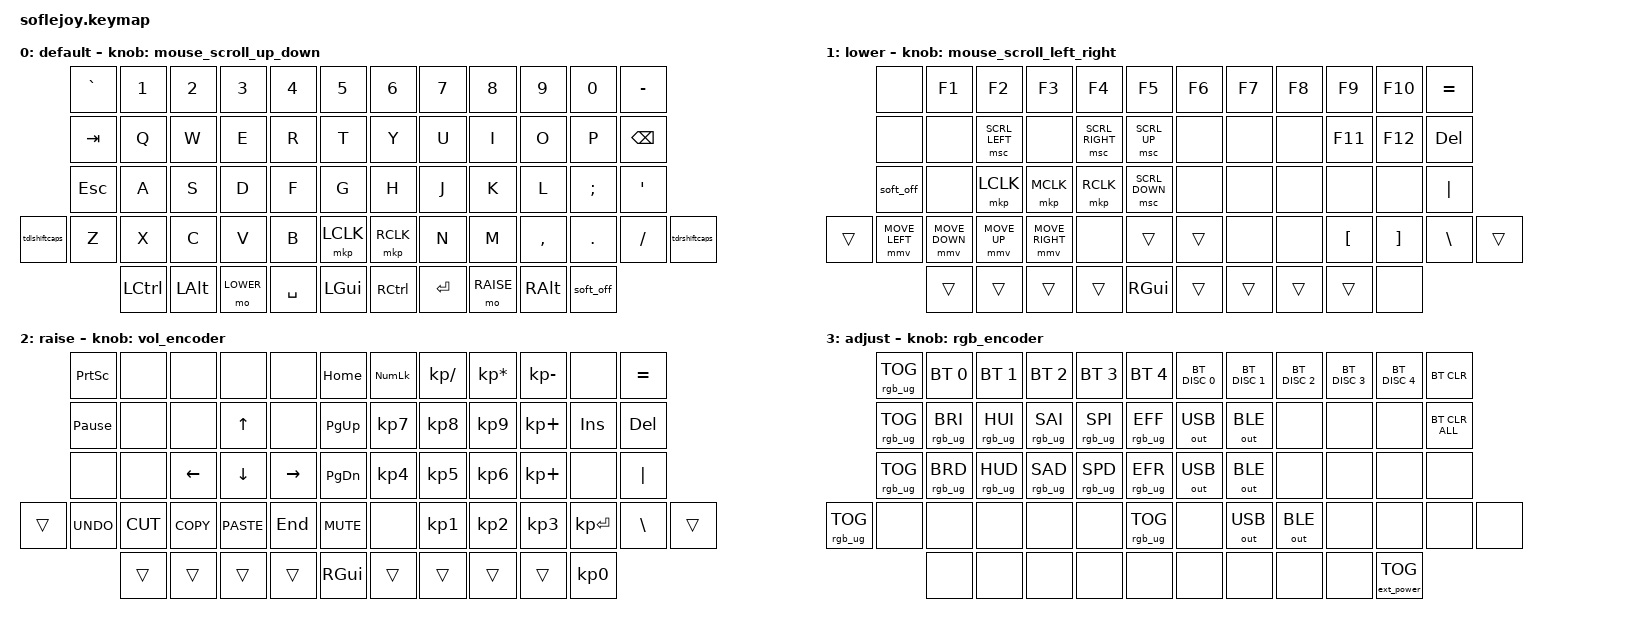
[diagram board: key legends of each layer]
/*
 * Copyright (c) 2020 The ZMK Contributors
 *
 * SPDX-License-Identifier: MIT
 */

#include <behaviors.dtsi>
#include <dt-bindings/zmk/keys.h>
#include <dt-bindings/zmk/bt.h>
#include <dt-bindings/zmk/rgb.h>
#include <dt-bindings/zmk/ext_power.h>
#include <dt-bindings/zmk/outputs.h>

#define ZMK_POINTING_DEFAULT_MOVE_VAL 300 // default 600, does not apply to pointing devices?
#define ZMK_POINTING_DEFAULT_SCRL_VAL 100 // the default is 10 which is way too slow for a fast response time

#include <dt-bindings/zmk/pointing.h>
#include <input/processors.dtsi>

#define BASE 0
#define LOWER 1
#define RAISE 2
#define ADJUST 3


&sl {
    release-after-ms = <500>;
    /delete-property/ quick-release;
};


&soft_off {
    hold-time-ms = <1500>; // Only turn off it the key is held for these milliseconds or longer.
    /delete-property/ split-peripheral-off-on-press;
};


&joystick_listener {
    input-processors = <&zip_temp_layer LOWER 1000>;
};

/ {

    behaviors {
        vol_encoder: behavior_vol_encoder {
            compatible = "zmk,behavior-sensor-rotate";
            #sensor-binding-cells = <0>;
            bindings = <&kp C_VOL_UP>, <&kp C_VOL_DN>;
        };

        rgb_encoder: behavior_rgb_encoder {
            compatible = "zmk,behavior-sensor-rotate";
            #sensor-binding-cells = <0>;
            bindings = <&rgb_ug RGB_BRI>, <&rgb_ug RGB_BRD>;
        };

        mouse_up_down: behavior_mouse_up_down {
            compatible = "zmk,behavior-sensor-rotate";
            #sensor-binding-cells = <0>;
            bindings = <&mmv MOVE_UP>, <&mmv MOVE_DOWN>;
            tap-ms = < 25 >;
        };

        mouse_left_right: behavior_mouse_left_right {
            compatible = "zmk,behavior-sensor-rotate";
            #sensor-binding-cells = <0>;
            bindings = <&mmv MOVE_RIGHT>, <&mmv MOVE_LEFT>;
            tap-ms = < 25 >;
        };

        mouse_scroll_up_down: behavior_mouse_scroll_up_down {
            compatible = "zmk,behavior-sensor-rotate";
            #sensor-binding-cells = <0>;
            bindings = <&msc SCRL_UP>, <&msc SCRL_DOWN>;
            tap-ms = < 20 >;
        };

        mouse_scroll_left_right: behavior_mouse_scroll_left_right {
            compatible = "zmk,behavior-sensor-rotate";
            #sensor-binding-cells = <0>;
            bindings = <&msc SCRL_RIGHT>, <&msc SCRL_LEFT>;
            tap-ms = < 20 >;
        };

        tdrshiftcaps: tap_dance_caps_r {
            compatible = "zmk,behavior-tap-dance";
            #binding-cells = <0>;
            tapping-term-ms = <200>;
            bindings = <&kp RSHIFT>, <&kp RSHIFT>, <&kp CAPSLOCK>;
        };


        tdlshiftcaps: tap_dance_caps_l {
            compatible = "zmk,behavior-tap-dance";
            #binding-cells = <0>;
            tapping-term-ms = <200>;
            bindings = <&kp LSHIFT>, <&kp LSHIFT>, <&kp CAPSLOCK>;
        };
    };

   // Activate ADJUST layer by pressing raise and lower
    conditional_layers {
        compatible = "zmk,conditional-layers";
        adjust_layer {
            if-layers = <LOWER RAISE>;
            then-layer = <ADJUST>;
        };
    };

    keymap {

        compatible = "zmk,keymap";

        default_layer {
            display-name = "default";

            bindings = <
&kp GRAVE &kp N1 &kp N2 &kp N3 &kp N4 &kp N5 &kp N6 &kp N7 &kp N8 &kp N9 &kp N0 &kp MINUS 
&kp TAB &kp Q &kp W &kp E &kp R &kp T &kp Y &kp U &kp I &kp O &kp P &kp BSPC 
&kp ESC &kp A &kp S &kp D &kp F &kp G &kp H &kp J &kp K &kp L &kp SEMI &kp SQT 
&tdlshiftcaps &kp Z &kp X &kp C &kp V &kp B &mkp LCLK &mkp RCLK &kp N &kp M &kp COMMA &kp DOT &kp FSLH &tdrshiftcaps 
&kp LCTRL &kp LALT &mo LOWER &kp SPACE &kp LGUI &kp RCTRL &kp RET &mo RAISE &kp RALT &soft_off 

            >;

            sensor-bindings = <&mouse_scroll_up_down>;
        };

        lower_layer {
            display-name = "lower";

            bindings = <
&none &kp F1 &kp F2 &kp F3 &kp F4 &kp F5 &kp F6 &kp F7 &kp F8 &kp F9 &kp F10 &kp EQUAL 
&none &none &msc SCRL_LEFT &none &msc SCRL_RIGHT &msc SCRL_UP &none &none &none &kp F11 &kp F12 &kp DEL 
&soft_off &none &mkp LCLK &mkp MCLK &mkp RCLK &msc SCRL_DOWN &none &none &none &none &none &kp PIPE 
&trans &mmv MOVE_LEFT &mmv MOVE_DOWN &mmv MOVE_UP &mmv MOVE_RIGHT &none &trans &trans &none &none &kp LEFT_BRACKET &kp RIGHT_BRACKET &kp BACKSLASH &trans 
&trans &trans &trans &trans &kp RGUI &trans &trans &trans &trans &none 

            >;

            sensor-bindings = <&mouse_scroll_left_right>;
        };

        raise_layer {
            display-name = "raise";

            bindings = <
&kp PSCRN &none &none &none &none &kp HOME &kp KP_NUM &kp KP_DIVIDE &kp KP_MULTIPLY &kp KP_MINUS &none &kp EQUAL 
&kp PAUSE_BREAK &none &none &kp UP &none &kp PG_UP &kp KP_N7 &kp KP_N8 &kp KP_N9 &kp KP_PLUS &kp INS &kp DEL 
&none &none &kp LEFT &kp DOWN &kp RIGHT &kp PG_DN &kp KP_N4 &kp KP_N5 &kp KP_N6 &kp KP_PLUS &none &kp PIPE 
&trans &kp K_UNDO &kp K_CUT &kp K_COPY &kp K_PASTE &kp END &kp C_MUTE &none &kp KP_N1 &kp KP_N2 &kp KP_N3 &kp KP_ENTER &kp BACKSLASH &trans 
&trans &trans &trans &trans &kp RGUI &trans &trans &trans &trans &kp KP_N0 

            >;

            sensor-bindings = <&vol_encoder>;
        };

        adjust_layer {
            display-name = "adjust";

            bindings = <
&rgb_ug RGB_TOG &bt BT_SEL 0 &bt BT_SEL 1 &bt BT_SEL 2 &bt BT_SEL 3 &bt BT_SEL 4 &bt BT_DISC 0 &bt BT_DISC 1 &bt BT_DISC 2 &bt BT_DISC 3 &bt BT_DISC 4 &bt BT_CLR 
&rgb_ug RGB_TOG &rgb_ug RGB_BRI &rgb_ug RGB_HUI &rgb_ug RGB_SAI &rgb_ug RGB_SPI &rgb_ug RGB_EFF &out OUT_USB &out OUT_BLE &none &none &none &bt BT_CLR_ALL 
&rgb_ug RGB_TOG &rgb_ug RGB_BRD &rgb_ug RGB_HUD &rgb_ug RGB_SAD &rgb_ug RGB_SPD &rgb_ug RGB_EFR &out OUT_USB &out OUT_BLE &none &none &none &none 
&rgb_ug RGB_TOG &none &none &none &none &none &rgb_ug RGB_TOG &none &out OUT_USB &out OUT_BLE &none &none &none &none 
&none &none &none &none &none &none &none &none &none &ext_power EP_TOG 

            >;

            sensor-bindings = <&rgb_encoder>;
        };



    };
};

